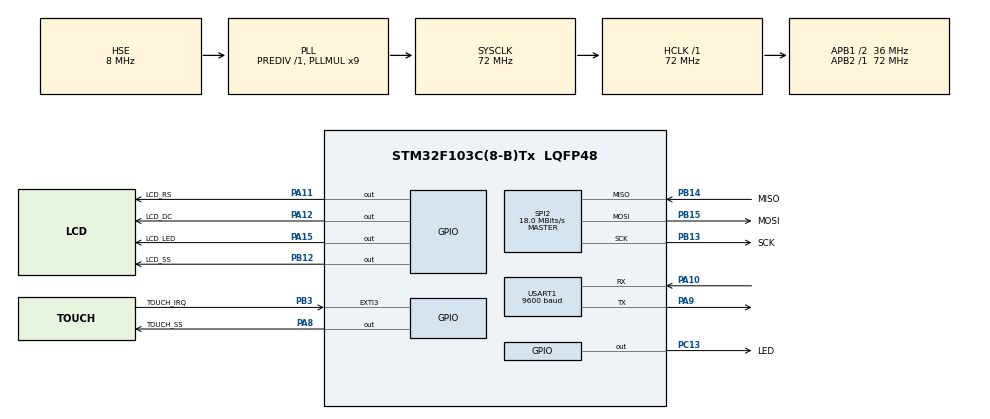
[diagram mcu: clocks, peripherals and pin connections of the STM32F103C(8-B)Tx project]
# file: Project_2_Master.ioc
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FREERTOS.BinarySemaphores01=BinarySem,Dynamic,NULL;PLCSem,Dynamic,NULL
FREERTOS.Mutexes01=Mutex01,Dynamic,NULL
FREERTOS.Queues01=PLC_MsgQueue,10,6,1,Dynamic,NULL,NULL;RXQueue,8,2,1,Dynamic,NULL,NULL
FREERTOS.Tasks01=myDisplay,28,150,Display_Task,Default,NULL,Dynamic,NULL,NULL;myPLC,24,150,PLC_Task,Default,NULL,Dynamic,NULL,NULL;Button,32,150,IRQ_Task,Default,NULL,Dynamic,NULL,NULL
FREERTOS.Timers01=SecTimer,LED_Indicator,osTimerPeriodic,Default,NULL,Dynamic,NULL;Timeout,LCD_Timeout,osTimerOnce,Default,NULL,Dynamic,NULL;CurrentTimer,Get_Current,osTimerPeriodic,Default,NULL,Dynamic,NULL
FREERTOS.configMINIMAL_STACK_SIZE=100
IWDG.Prescaler=IWDG_PRESCALER_256
IWDG.Reload=1500
Mcu.Family=STM32F1
Mcu.Name=STM32F103C(8-B)Tx
Mcu.Package=LQFP48
NVIC.EXTI3_IRQn=true\:5\:0\:false\:false\:true\:true\:true\:true
NVIC.PriorityGroup=NVIC_PRIORITYGROUP_4
NVIC.TIM1_UP_IRQn=true\:15\:0\:false\:false\:true\:false\:false\:true
NVIC.TimeBase=TIM1_UP_IRQn
NVIC.TimeBaseIP=TIM1
NVIC.USART1_IRQn=true\:5\:0\:false\:false\:true\:true\:true\:true
PA10.Mode=Asynchronous
PA10.Signal=USART1_RX
PA11.GPIO_Label=LCD_RS
PA11.Signal=GPIO_Output
PA12.GPIO_Label=LCD_DC
PA12.Signal=GPIO_Output
PA13.Mode=Serial_Wire
PA13.Signal=SYS_JTMS-SWDIO
PA14.Mode=Serial_Wire
PA14.Signal=SYS_JTCK-SWCLK
PA15.GPIO_Label=LCD_LED
PA15.Signal=GPIO_Output
PA8.GPIO_Label=TOUCH_SS
PA8.Signal=GPIO_Output
PA9.Mode=Asynchronous
PA9.Signal=USART1_TX
PB12.GPIO_Label=LCD_SS
PB12.Signal=GPIO_Output
PB13.GPIO_Label=SCK
PB13.Mode=Full_Duplex_Master
PB13.Signal=SPI2_SCK
PB14.GPIO_Label=MISO
PB14.Mode=Full_Duplex_Master
PB14.Signal=SPI2_MISO
PB15.GPIO_Label=MOSI
PB15.Mode=Full_Duplex_Master
PB15.Signal=SPI2_MOSI
PB3.GPIO_Label=TOUCH_IRQ
PB3.GPIO_ModeDefaultEXTI=GPIO_MODE_IT_FALLING
PB3.GPIO_PuPd=GPIO_PULLUP
PB3.Signal=GPXTI3
PC13-TAMPER-RTC.GPIO_Label=LED
PC13-TAMPER-RTC.Signal=GPIO_Output
PD0-OSC_IN.Mode=HSE-External-Oscillator
PD0-OSC_IN.Signal=RCC_OSC_IN
PD1-OSC_OUT.Mode=HSE-External-Oscillator
PD1-OSC_OUT.Signal=RCC_OSC_OUT
ProjectManager.HeapSize=0x200
ProjectManager.StackSize=0x400
ProjectManager.TargetToolchain=Makefile
RCC.AHBFreq_Value=72000000
RCC.APB1CLKDivider=RCC_HCLK_DIV2
RCC.APB1Freq_Value=36000000
RCC.APB1TimFreq_Value=72000000
RCC.APB2Freq_Value=72000000
RCC.APB2TimFreq_Value=72000000
RCC.HCLKFreq_Value=72000000
RCC.PLLMUL=RCC_PLL_MUL9
RCC.PLLSourceVirtual=RCC_PLLSOURCE_HSE
RCC.SYSCLKFreq_VALUE=72000000
RCC.SYSCLKSource=RCC_SYSCLKSOURCE_PLLCLK
RCC.USBFreq_Value=72000000
SPI2.CalculateBaudRate=18.0 MBits/s
SPI2.Direction=SPI_DIRECTION_2LINES
SPI2.Mode=SPI_MODE_MASTER
SPI2.VirtualType=VM_MASTER
USART1.BaudRate=9600
USART1.VirtualMode=VM_ASYNC
VP_FREERTOS_VS_CMSIS_V2.Mode=CMSIS_V2
VP_IWDG_VS_IWDG.Mode=IWDG_Activate
VP_SYS_VS_tim1.Mode=TIM1
board=custom

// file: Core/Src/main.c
/* USER CODE BEGIN Header */
/**
  ******************************************************************************
  * @file           : main.c
  * @brief          : Main program body
  ******************************************************************************
  * @attention
  *
  * Copyright (c) 2022 STMicroelectronics.
  * All rights reserved.
  *
  * This software is licensed under terms that can be found in the LICENSE file
  * in the root directory of this software component.
  * If no LICENSE file comes with this software, it is provided AS-IS.
  *
  ******************************************************************************
  */
/* USER CODE END Header */
#include "main.h"
#include "cmsis_os.h"
#include "iwdg.h"
#include "spi.h"
#include "usart.h"
#include "gpio.h"

/* USER CODE BEGIN PTD */

typedef enum
{
  RXREADY,
  GETTING_MESSAGE,
  PROCESS_MESSAGE
}
UARTStateRX;

/* USER CODE END PTD */

void SystemClock_Config(void);
void MX_FREERTOS_Init(void);
/* USER CODE BEGIN PFP */

void HAL_UART_RxCplCallback(UART_HandleTypeDef *huart);

/* USER CODE END PFP */

/* USER CODE BEGIN 0 */

extern uint8_t UART1_rxBuffer[1];

/* USER CODE END 0 */

int main(void)
{

  /* MCU Configuration--------------------------------------------------------*/

  /* Reset of all peripherals, Initializes the Flash interface and the Systick. */
  HAL_Init();

  /* Configure the system clock */
  SystemClock_Config();

  /* Initialize all configured peripherals */
  MX_GPIO_Init();
  MX_SPI2_Init();
  MX_USART1_UART_Init();
  MX_IWDG_Init();
  /* USER CODE BEGIN 2 */
  HAL_UART_Receive_IT(&huart1, UART1_rxBuffer, 1);

  // uint8_t send_buffer[101] = {0};
  // for (uint8_t i = 0; i < 100; i++)
  // {
  //   send_buffer[i] = i+1;
  // }

  /* USER CODE END 2 */

  /* Init scheduler */
  osKernelInitialize();  /* Call init function for freertos objects (in freertos.c) */
  MX_FREERTOS_Init();
  /* Start scheduler */
  osKernelStart();

  /* We should never get here as control is now taken by the scheduler */
  /* Infinite loop */
  while (1)
  {

  }
}

void SystemClock_Config(void)
{
  RCC_OscInitTypeDef RCC_OscInitStruct = {0};
  RCC_ClkInitTypeDef RCC_ClkInitStruct = {0};

  /** Initializes the RCC Oscillators according to the specified parameters
  * in the RCC_OscInitTypeDef structure.
  */
  RCC_OscInitStruct.OscillatorType = RCC_OSCILLATORTYPE_LSI|RCC_OSCILLATORTYPE_HSE;
  RCC_OscInitStruct.HSEState = RCC_HSE_ON;
  RCC_OscInitStruct.HSEPredivValue = RCC_HSE_PREDIV_DIV1;
  RCC_OscInitStruct.HSIState = RCC_HSI_ON;
  RCC_OscInitStruct.LSIState = RCC_LSI_ON;
  RCC_OscInitStruct.PLL.PLLState = RCC_PLL_ON;
  RCC_OscInitStruct.PLL.PLLSource = RCC_PLLSOURCE_HSE;
  RCC_OscInitStruct.PLL.PLLMUL = RCC_PLL_MUL9;
  if (HAL_RCC_OscConfig(&RCC_OscInitStruct) != HAL_OK)
  {
    Error_Handler();
  }
  /** Initializes the CPU, AHB and APB buses clocks
  */
  RCC_ClkInitStruct.ClockType = RCC_CLOCKTYPE_HCLK|RCC_CLOCKTYPE_SYSCLK
                              |RCC_CLOCKTYPE_PCLK1|RCC_CLOCKTYPE_PCLK2;
  RCC_ClkInitStruct.SYSCLKSource = RCC_SYSCLKSOURCE_PLLCLK;
  RCC_ClkInitStruct.AHBCLKDivider = RCC_SYSCLK_DIV1;
  RCC_ClkInitStruct.APB1CLKDivider = RCC_HCLK_DIV2;
  RCC_ClkInitStruct.APB2CLKDivider = RCC_HCLK_DIV1;

  if (HAL_RCC_ClockConfig(&RCC_ClkInitStruct, FLASH_LATENCY_2) != HAL_OK)
  {
    Error_Handler();
  }
}

void HAL_TIM_PeriodElapsedCallback(TIM_HandleTypeDef *htim)
{
  if (htim->Instance == TIM1) {
    HAL_IncTick();
  }
}

void Error_Handler(void)
{
  __disable_irq();
  while (1)
  {
  }
}

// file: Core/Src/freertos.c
/* USER CODE BEGIN Header */
/**
  ******************************************************************************
  * File Name          : freertos.c
  * Description        : Code for freertos applications
  ******************************************************************************
  * @attention
  *
  * Copyright (c) 2022 STMicroelectronics.
  * All rights reserved.
  *
  * This software is licensed under terms that can be found in the LICENSE file
  * in the root directory of this software component.
  * If no LICENSE file comes with this software, it is provided AS-IS.
  *
  ******************************************************************************
  */
/* USER CODE END Header */

#include "FreeRTOS.h"
#include "task.h"
#include "main.h"
#include "cmsis_os.h"

/* USER CODE BEGIN Includes */
#include "lcd.h"
#include "math.h"
#include "timers.h"
#include "plc.h"
#include "queue.h"

/* USER CODE END Includes */

/* USER CODE BEGIN PTD */
typedef enum
{
  SLEEPING = 0,
  RUNNING = 1,
} Mode;

typedef enum
{
  RXREADY,
  GET_NEW_MESSAGE,
  PROCESS_MESSAGE
} UARTStateRX;

typedef enum
{
  SENDING,
  TXREADY
} UARTStateTX;

typedef enum
{
  SLAVE_OK,
  SLAVE_nOK
}
SLAVEState;

typedef struct
{
  uint8_t PWM_percent;
  uint16_t Current;
  uint8_t Power;
  uint32_t time;
  uint8_t Power_p;
  uint8_t history[120];
} Channel;

/* USER CODE END PTD */

/* USER CODE BEGIN PD */

#define ControlPage     (0)
#define SettingPage     (1)
#define InfoPage        (2)
#define DELAY_RX_CHECK  (5000)
#define DELAY_RX_CHECK  (5000)

#define LCD_TimeOut     (180000)

/* USER CODE END PD */

/* USER CODE BEGIN PM */

#define ABS(x) ((x) > 0 ? (x) : -(x))
/* USER CODE END PM */

/* USER CODE BEGIN Variables */
extern SPI_HandleTypeDef hspi2;
extern UART_HandleTypeDef huart1;
extern IWDG_HandleTypeDef hiwdg;

myButton_t Channel_1 = {80, 120, 50, 0, 0, ILI9341_RED, false, NULL};
myButton_t Channel_2 = {240, 120, 50, 0, 0, ILI9341_RED, false, NULL};
myButton_t Control_Info = {299, 219, 20, 0, 0, ILI9341_LIGHTBLUE, NULL, NULL};
myButton_t Info_Control = {20, 219, 20, 0, 0, ILI9341_LIGHTBLUE, NULL, NULL};
myButton_t Control_Setting = {160, 205, 0, 100, 30, ILI9341_YELLOW, NULL, NULL};

Mode DeviceState = RUNNING;
uint8_t currentPage = 0;
Channel Display_Channel01;
Channel Display_Channel02;

uint8_t UART1_rxBuffer[1];
uint8_t message_buffer[PLC_LEN_OF_MESSAGE];
uint8_t byte_count = 0;
UARTStateRX RXstate = RXREADY;
UARTStateTX TXstate = TXREADY;
SLAVEState SLstate = SLAVE_OK;

lightChannel channel01 = {
  .onoff = OFF,
  .value = 0,
  .channel_num = PLC_CHANNEL_01,
  .messageType = 0,
};

lightChannel channel02 = {
  .onoff = OFF,
  .value = 0,
  .channel_num = PLC_CHANNEL_02,
  .messageType = 0,
};

/* USER CODE END Variables */
/* Definitions for myDisplay */
osThreadId_t myDisplayHandle;
const osThreadAttr_t myDisplay_attributes = {
  .name = "myDisplay",
  .stack_size = 150 * 4,
  .priority = (osPriority_t) osPriorityNormal4,
};
/* Definitions for myPLC */
osThreadId_t myPLCHandle;
const osThreadAttr_t myPLC_attributes = {
  .name = "myPLC",
  .stack_size = 150 * 4,
  .priority = (osPriority_t) osPriorityNormal,
};
/* Definitions for Button */
osThreadId_t ButtonHandle;
const osThreadAttr_t Button_attributes = {
  .name = "Button",
  .stack_size = 150 * 4,
  .priority = (osPriority_t) osPriorityAboveNormal,
};
/* Definitions for PLC_MsgQueue */
osMessageQueueId_t PLC_MsgQueueHandle;
const osMessageQueueAttr_t PLC_MsgQueue_attributes = {
  .name = "PLC_MsgQueue"
};
/* Definitions for RXQueue */
osMessageQueueId_t RXQueueHandle;
const osMessageQueueAttr_t RXQueue_attributes = {
  .name = "RXQueue"
};
/* Definitions for SecTimer */
osTimerId_t SecTimerHandle;
const osTimerAttr_t SecTimer_attributes = {
  .name = "SecTimer"
};
/* Definitions for Timeout */
osTimerId_t TimeoutHandle;
const osTimerAttr_t Timeout_attributes = {
  .name = "Timeout"
};
/* Definitions for CurrentTimer */
osTimerId_t CurrentTimerHandle;
const osTimerAttr_t CurrentTimer_attributes = {
  .name = "CurrentTimer"
};
/* Definitions for Mutex01 */
osMutexId_t Mutex01Handle;
const osMutexAttr_t Mutex01_attributes = {
  .name = "Mutex01"
};
/* Definitions for BinarySem */
osSemaphoreId_t BinarySemHandle;
const osSemaphoreAttr_t BinarySem_attributes = {
  .name = "BinarySem"
};
/* Definitions for PLCSem */
osSemaphoreId_t PLCSemHandle;
const osSemaphoreAttr_t PLCSem_attributes = {
  .name = "PLCSem"
};

/* USER CODE BEGIN FunctionPrototypes */
void ControlPageDisplay(void);
void SettingPageDisplay(void);
void InfoPageDisplay(void);

void ControlPageHandler(uint16_t x, uint16_t y);
void SettingPageHandler(uint16_t x, uint16_t y);
void InfoPageHandler(uint16_t x, uint16_t y);

void PLC_MessageHandle(PLCMessage message);

void reverse(char* str, int len);
int intToStr(uint16_t x, char str[], int d);
void ftoa(float n, char* res, int afterpoint);

void intToTime(uint32_t time, char* str);
int intToStr0(uint8_t x, char str[], int d);
/* USER CODE END FunctionPrototypes */

void Display_Task(void *argument);
void PLC_Task(void *argument);
void IRQ_Task(void *argument);
void LED_Indicator(void *argument);
void LCD_Timeout(void *argument);
void Get_Current(void *argument);

void MX_FREERTOS_Init(void); /* (MISRA C 2004 rule 8.1) */

void MX_FREERTOS_Init(void) {
  /* Create the mutex(es) */
  /* creation of Mutex01 */
  Mutex01Handle = osMutexNew(&Mutex01_attributes);

  /* Create the semaphores(s) */
  /* creation of BinarySem */
  BinarySemHandle = osSemaphoreNew(1, 0, &BinarySem_attributes);

  /* creation of PLCSem */
  PLCSemHandle = osSemaphoreNew(1, 0, &PLCSem_attributes);

  /* Create the timer(s) */
  /* creation of SecTimer */
  SecTimerHandle = osTimerNew(LED_Indicator, osTimerPeriodic, NULL, &SecTimer_attributes);

  /* creation of Timeout */
  TimeoutHandle = osTimerNew(LCD_Timeout, osTimerOnce, NULL, &Timeout_attributes);

  /* creation of CurrentTimer */
  CurrentTimerHandle = osTimerNew(Get_Current, osTimerPeriodic, NULL, &CurrentTimer_attributes);

  /* Create the queue(s) */
  /* creation of PLC_MsgQueue */
  PLC_MsgQueueHandle = osMessageQueueNew (5, sizeof(lightChannel), &PLC_MsgQueue_attributes);

  /* creation of RXQueue */
  RXQueueHandle = osMessageQueueNew (8, sizeof(UART1_rxBuffer), &RXQueue_attributes);

  /* Create the thread(s) */
  /* creation of myDisplay */
  myDisplayHandle = osThreadNew(Display_Task, NULL, &myDisplay_attributes);

  /* creation of myPLC */
  myPLCHandle = osThreadNew(PLC_Task, NULL, &myPLC_attributes);

  /* creation of Button */
  ButtonHandle = osThreadNew(IRQ_Task, NULL, &Button_attributes);

}

void Display_Task(void *argument)
{
  /* USER CODE BEGIN Display_Task */

  ILI9341_Unselect();
  ILI9341_TouchUnselect();
  ILI9341_Init();

  osTimerStart(SecTimerHandle, 1000);
  osTimerStart(TimeoutHandle, LCD_TimeOut);
  osTimerStart(CurrentTimerHandle, 30000);

  /* Infinite loop */
  for(;;)
  {
    osTimerStop(SecTimerHandle);
    switch (currentPage)
    {
      case ControlPage:
        ControlPageDisplay();
        break;

      case SettingPage:
        SettingPageDisplay();
        break;

      case InfoPage:
        InfoPageDisplay();
        break;

      default:
        break;
    }
    osTimerStart(SecTimerHandle, 1000);
    vTaskSuspend(myDisplayHandle);
  }
  /* USER CODE END Display_Task */
}

void PLC_Task(void *argument)
{
  /* USER CODE BEGIN PLC_Task */
  uint8_t rxbyte = 0;
  lightChannel channel;
  PLCMessage message;
  uint8_t buffer[8];
  uint32_t TickRXCheck = 0;
  uint32_t TickTXCheck = 0;
  // osDelay(2000);
  /* Infinite loop */
  for(;;)
  {

    if (TXstate == TXREADY)
    {
      if (osMessageQueueGet(PLC_MsgQueueHandle, &channel, NULL, 10) == osOK)
      {
        TXstate = SENDING;
        message.messageType = channel.messageType;
        if (channel.messageType == PLC_ONOFF_MESSAGE)         {message.payload = channel.onoff;}
        else if (channel.messageType == PLC_PWM_MESSAGE)      {message.payload = channel.value;}
        else if (channel.messageType == PLC_REQUEST_CURRENT)  {message.payload = 0;}
        message.device.roomAddr = PLC_ROOM_ADDR;
        message.device.deviceAddr = PLC_DEVICE_ADDR;
        message.device.channel = channel.channel_num;
        PLC_MessageGenerate(buffer, message);
        HAL_UART_Transmit_IT(&huart1, (uint8_t*)buffer, 8);
      }
    }

    if (osMessageQueueGet(RXQueueHandle, &rxbyte, NULL, 10) == osOK)
    {
      if ((RXstate == RXREADY) && (rxbyte == '$'))
      {
        RXstate = GET_NEW_MESSAGE;
        message_buffer[byte_count++] = rxbyte;
      }
      else if (RXstate == GET_NEW_MESSAGE)
      {
        message_buffer[byte_count++] = rxbyte;
        if (byte_count == 8)
        {
          RXstate = PROCESS_MESSAGE;
          byte_count = 0;
        }
      }
    }

    if ((RXstate == PROCESS_MESSAGE) && (TXstate == SENDING))
    {
      if (PLC_MessageParser(message_buffer, &message) != HAL_OK)  {SLstate = SLAVE_nOK;}
      else  {PLC_MessageHandle(message);}
      HAL_Delay(500);
      while (osMessageQueueGetCount(RXQueueHandle) != 0)  {osMessageQueueGet(RXQueueHandle, &rxbyte, NULL, 10);}
      if (SLstate == SLAVE_nOK)   {HAL_UART_Transmit_IT(&huart1, (uint8_t*)buffer, 8);}
      TickRXCheck = HAL_GetTick();
      RXstate = RXREADY;
    }

    if (RXstate == RXREADY)   {TickRXCheck = HAL_GetTick();}
    if (TXstate == TXREADY)   {TickTXCheck = HAL_GetTick();}
    if ((((HAL_GetTick() - TickRXCheck) > DELAY_RX_CHECK) || ((HAL_GetTick() - TickTXCheck) > DELAY_RX_CHECK)) &&
        ((RXstate == GET_NEW_MESSAGE) || (TXstate == SENDING)))
    {
      HAL_UART_Transmit_IT(&huart1, (uint8_t*)buffer, 8);
      TickRXCheck = HAL_GetTick();
      TickTXCheck = HAL_GetTick();
      RXstate = RXREADY;
    }

    osDelay(1);
  }
  /* USER CODE END PLC_Task */
}

void IRQ_Task(void *argument)
{
  /* USER CODE BEGIN IRQ_Task */
  uint16_t x, y;
  uint32_t currentTick = 0, lastTick = 0;
  /* Infinite loop */
  for(;;)
  {
    osDelay(100);
    if (osSemaphoreAcquire(BinarySemHandle, portMAX_DELAY) == osOK)
    {
      osDelay(100);
      currentTick = HAL_GetTick();
      if (HAL_GPIO_ReadPin(TOUCH_IRQ_GPIO_Port, TOUCH_IRQ_Pin) == 0 && ((currentTick - lastTick) >= 500))
      {
        lastTick = currentTick;

        HAL_SPI_DeInit(&hspi2);
        hspi2.Init.BaudRatePrescaler = SPI_BAUDRATEPRESCALER_128;
        HAL_SPI_Init(&hspi2);
        while(ILI9341_TouchGetCoordinates(&x, &y) != true);
        HAL_SPI_DeInit(&hspi2);
        hspi2.Init.BaudRatePrescaler = SPI_BAUDRATEPRESCALER_2;
        HAL_SPI_Init(&hspi2);

        osTimerStop(TimeoutHandle);
        xTimerReset(TimeoutHandle, 10);

        if (DeviceState == SLEEPING)
        {
          DeviceState = RUNNING;
          HAL_GPIO_WritePin(LCD_LED_GPIO_Port, LCD_LED_Pin, 1);
        }
        else
        {
          switch (currentPage)
          {
            case ControlPage:
              ControlPageHandler(x, y);
              break;

            case SettingPage:
              SettingPageHandler(x, y);
              break;

            case InfoPage:
              InfoPageHandler(x, y);
              break;

            default:
              break;
          }
        }

        osTimerStart(TimeoutHandle, LCD_TimeOut);

      }

    }
    //osSemaphoreRelease(BinarySemHandle);
  }
  /* USER CODE END IRQ_Task */
}

/* LED_Indicator function */
void LED_Indicator(void *argument)
{
  /* USER CODE BEGIN LED_Indicator */
  HAL_IWDG_Refresh(&hiwdg);
  HAL_GPIO_TogglePin(LED_GPIO_Port, LED_Pin);

  if (Channel_1.state == true)
  {
    Display_Channel01.time++;
    if (currentPage == InfoPage)
    {
      char t_temp[9];
      char temp[6];
      intToTime(Display_Channel01.time, t_temp);
      ILI9341_WriteString(90, 80, t_temp, Font_7x10, ILI9341_GREEN, ILI9341_BLACK);
      intToStr(Display_Channel01.Current, temp, 4);
      ILI9341_WriteString(90, 40, temp, Font_7x10, ILI9341_YELLOW, ILI9341_BLACK);
      intToStr(Display_Channel01.Power, temp, 4);
      ILI9341_WriteString(90, 60, temp, Font_7x10, ILI9341_RED, ILI9341_BLACK);
    }
  }

  if (Channel_2.state == true)
  {
    Display_Channel02.time++;
    if (currentPage == InfoPage)
    {
      char t_temp[9];
      char temp[6];
      intToTime(Display_Channel02.time, t_temp);
      ILI9341_WriteString(90, 170, t_temp, Font_7x10, ILI9341_GREEN, ILI9341_BLACK);
      intToStr(Display_Channel02.Current, temp, 4);
      ILI9341_WriteString(90, 130, temp, Font_7x10, ILI9341_YELLOW, ILI9341_BLACK);
      intToStr(Display_Channel02.Power, temp, 4);
      ILI9341_WriteString(90, 150, temp, Font_7x10, ILI9341_RED, ILI9341_BLACK);
    }
  }

  /* USER CODE END LED_Indicator */
}

/* LCD_Timeout function */
void LCD_Timeout(void *argument)
{
  /* USER CODE BEGIN LCD_Timeout */

  HAL_GPIO_WritePin(LCD_LED_GPIO_Port, LCD_LED_Pin, 0);
  DeviceState = SLEEPING;

  /* USER CODE END LCD_Timeout */
}

/* Get_Current function */
void Get_Current(void *argument)
{
  /* USER CODE BEGIN Get_Current */

  channel01.messageType = PLC_REQUEST_CURRENT;
  osMessageQueuePut(PLC_MsgQueueHandle, &channel01, 0U, 0U);

  /* USER CODE END Get_Current */
}

/* USER CODE BEGIN Application */

void HAL_GPIO_EXTI_Callback(uint16_t GPIO_Pin)
{
  if (GPIO_Pin == TOUCH_IRQ_Pin)
  {
    osSemaphoreRelease(BinarySemHandle);
  }
}

void HAL_UART_RxCpltCallback(UART_HandleTypeDef *huart)
{
  if (huart->Instance == USART1)
  {
    osMessageQueuePut(RXQueueHandle, &UART1_rxBuffer, 0U, 0U);
    HAL_UART_Receive_IT(&huart1, UART1_rxBuffer, 1);
  }
}

void PLC_MessageHandle(PLCMessage message)
{
  switch (message.messageType)
  {
    case (PLC_RESPONSE_MESSAGE):
    {
      if (message.payload == 0)       {SLstate = SLAVE_nOK;}
      else if (message.payload == 1)
      {
        TXstate = TXREADY;
        SLstate = SLAVE_OK;
      }
    }
    case (PLC_REQUEST_CURRENT):
    {
      if (message.device.channel == PLC_CHANNEL_01)
      {
        Display_Channel01.Current = message.payload;
        Display_Channel01.Power = Display_Channel01.Current * 160 / 1000;
        Display_Channel01.history[Display_Channel01.Power_p++] = Display_Channel01.Power;
        if (Display_Channel01.Power_p == 120) {Display_Channel01.Power_p = 0;}
        SLstate = SLAVE_OK;
        TXstate = TXREADY;
        channel02.messageType = PLC_REQUEST_CURRENT;
        osMessageQueuePut(PLC_MsgQueueHandle, &channel02, 0U, 0U);
      }
      else if (message.device.channel == PLC_CHANNEL_02)
      {
        Display_Channel02.Current = message.payload;
        Display_Channel02.Power = Display_Channel02.Current * 160 / 1000;
        Display_Channel02.history[Display_Channel02.Power_p++] = Display_Channel02.Power;
        if (Display_Channel02.Power_p == 120) {Display_Channel02.Power_p = 0;}

        if ((Channel_1.state == true) && (currentPage == InfoPage))
        {
          if(osMutexAcquire(Mutex01Handle, portMAX_DELAY) == osOK)
          {
            uint8_t start = Display_Channel01.Power_p;
            for(uint8_t i = 0; i < 120; i++)
            {
              ILI9341_DrawLine(191+i, 20, 191+i, 100, ILI9341_BLACK);
              ILI9341_DrawPixel(191+i, 100, ILI9341_WHITE);
              ILI9341_DrawPixel(191+i, 100-Display_Channel01.history[start++], ILI9341_BLUE);
              if (start == 120)   {start = 0;}
            }
            osMutexRelease(Mutex01Handle);
          }
        }

        if ((Channel_2.state == true) && (currentPage == InfoPage))
        {
          if(osMutexAcquire(Mutex01Handle, portMAX_DELAY) == osOK)
          {
            uint8_t start = Display_Channel02.Power_p;
            for(uint8_t i = 0; i < 120; i++)
            {
              ILI9341_DrawLine(191+i, 140, 191+i, 220, ILI9341_BLACK);
              ILI9341_DrawPixel(191+i, 220, ILI9341_WHITE);
              ILI9341_DrawPixel(191+i, 220-Display_Channel02.history[start++], ILI9341_RED);
              if (start == 120)   {start = 0;}
            }
            osMutexRelease(Mutex01Handle);
          }
        }

        SLstate = SLAVE_OK;
        TXstate = TXREADY;
      }
    }
  }
}

void ControlPageDisplay(void)
{
  ILI9341_FillScreen(ILI9341_BLACK);

  ILI9341_WriteString(34, 30, "CHANNEL 1", Font_11x18, ILI9341_WHITE, ILI9341_BLACK);
  ILI9341_WriteString(194, 30, "CHANNEL 2", Font_11x18, ILI9341_WHITE, ILI9341_BLACK);

  if (Channel_1.state == true)
  {
    ILI9341_FillCircle(Channel_1.pos_x, Channel_1.pos_y, Channel_1.shape_r, ILI9341_GREEN);
    ILI9341_WriteString(Channel_1.pos_x-10, Channel_1.pos_y-5, "ON", Font_11x18, ILI9341_BLACK, ILI9341_GREEN);
  }
  else
  {
    ILI9341_FillCircle(Channel_1.pos_x, Channel_1.pos_y, Channel_1.shape_r, ILI9341_RED);
    ILI9341_WriteString(Channel_1.pos_x-15, Channel_1.pos_y-5, "OFF", Font_11x18, ILI9341_BLACK, ILI9341_RED);
  }

  if (Channel_2.state == true)
  {
    ILI9341_FillCircle(Channel_2.pos_x, Channel_2.pos_y, Channel_2.shape_r, ILI9341_GREEN);
    ILI9341_WriteString(Channel_2.pos_x-10, Channel_2.pos_y-5, "ON", Font_11x18, ILI9341_BLACK, ILI9341_GREEN);
  }
  else
  {
    ILI9341_FillCircle(Channel_2.pos_x, Channel_2.pos_y, Channel_2.shape_r, ILI9341_RED);
    ILI9341_WriteString(Channel_2.pos_x-15, Channel_2.pos_y-5, "OFF", Font_11x18, ILI9341_BLACK, ILI9341_RED);
  }

  ILI9341_FillRectangle(Control_Setting.pos_x - (Control_Setting.shape_w/2),
                        Control_Setting.pos_y - (Control_Setting.shape_h/2),
                        Control_Setting.shape_w,
                        Control_Setting.shape_h,
                        Control_Setting.color);
  ILI9341_WriteString(Control_Setting.pos_x - (Control_Setting.shape_w/2) + 12,
                      Control_Setting.pos_y - (Control_Setting.shape_h/2) + 7,
                      "SETTING",
                      Font_11x18,
                      ILI9341_BLACK,
                      Control_Setting.color);

  ILI9341_FillCircle(Control_Info.pos_x, Control_Info.pos_y, Control_Info.shape_r, Control_Info.color);
  ILI9341_WriteString(Control_Info.pos_x-10, Control_Info.pos_y-7, ">>", Font_11x18, ILI9341_BLACK, Control_Info.color);

}

void SettingPageDisplay(void)
{
  ILI9341_FillScreen(ILI9341_BLACK);

  char temp[4];

  ILI9341_WriteString(110, 15, "CHANNEL 1", Font_11x18, ILI9341_WHITE, ILI9341_BLACK);

  ILI9341_WriteString(10, 40, "Level: ", Font_11x18, ILI9341_WHITE, ILI9341_BLACK);
  intToStr(Display_Channel01.PWM_percent, temp, 3);
  ILI9341_WriteString(109, 40, temp, Font_11x18, ILI9341_WHITE, ILI9341_BLACK);

  ILI9341_DrawRectangle(20, 70, 280, 20, ILI9341_WHITE);
  ILI9341_FillRectangle(22, 72, 278*((double)Display_Channel01.PWM_percent/100) - 1, 17, ILI9341_GREEN);

  ILI9341_WriteString(110, 105, "CHANNEL 2", Font_11x18, ILI9341_WHITE, ILI9341_BLACK);

  ILI9341_WriteString(10, 130, "Level: ", Font_11x18, ILI9341_WHITE, ILI9341_BLACK);
  intToStr(Display_Channel02.PWM_percent, temp, 3);
  ILI9341_WriteString(109, 130, temp, Font_11x18, ILI9341_WHITE, ILI9341_BLACK);

  ILI9341_DrawRectangle(20, 160, 280, 20, ILI9341_WHITE);
  ILI9341_FillRectangle(22, 162, 278*((double)Display_Channel02.PWM_percent/100) - 1, 17, ILI9341_GREEN);

  ILI9341_FillRectangle(Control_Setting.pos_x - (Control_Setting.shape_w/2),
                        Control_Setting.pos_y - (Control_Setting.shape_h/2),
                        Control_Setting.shape_w,
                        Control_Setting.shape_h,
                        Control_Setting.color);
  ILI9341_WriteString(Control_Setting.pos_x - (Control_Setting.shape_w/2) + 12,
                      Control_Setting.pos_y - (Control_Setting.shape_h/2) + 7,
                      "CONTROL",
                      Font_11x18,
                      ILI9341_BLACK,
                      Control_Setting.color);
}

void InfoPageDisplay(void)
{
  ILI9341_FillScreen(ILI9341_BLACK);

  char temp[6];
  char t_temp[9];
  uint8_t start;

  ILI9341_WriteString(30, 15, "CHANNEL 1", Font_11x18, ILI9341_WHITE, ILI9341_BLACK);

  ILI9341_WriteString(20, 40, "Current: ", Font_7x10, ILI9341_YELLOW, ILI9341_BLACK);
  intToStr(Display_Channel01.Current, temp, 4);
  ILI9341_WriteString(90, 40, temp, Font_7x10, ILI9341_YELLOW, ILI9341_BLACK);
  ILI9341_WriteString(125, 40, "mA", Font_7x10, ILI9341_YELLOW, ILI9341_BLACK);

  ILI9341_WriteString(20, 60, "Power: ", Font_7x10, ILI9341_RED, ILI9341_BLACK);
  intToStr(Display_Channel01.Power, temp, 4);
  ILI9341_WriteString(90, 60, temp, Font_7x10, ILI9341_RED, ILI9341_BLACK);
  ILI9341_WriteString(125, 60, "W", Font_7x10, ILI9341_RED, ILI9341_BLACK);

  ILI9341_WriteString(20, 80, "Period: ", Font_7x10, ILI9341_GREEN, ILI9341_BLACK);
  intToTime(Display_Channel01.time, t_temp);
  ILI9341_WriteString(90, 80, t_temp, Font_7x10, ILI9341_GREEN, ILI9341_BLACK);

  ILI9341_WriteString(30, 105, "CHANNEL 2", Font_11x18, ILI9341_WHITE, ILI9341_BLACK);

  ILI9341_WriteString(20, 130, "Current: ", Font_7x10, ILI9341_YELLOW, ILI9341_BLACK);
  intToStr(Display_Channel02.Current, temp, 4);
  ILI9341_WriteString(90, 130, temp, Font_7x10, ILI9341_YELLOW, ILI9341_BLACK);
  ILI9341_WriteString(125, 130, "mA", Font_7x10, ILI9341_YELLOW, ILI9341_BLACK);

  ILI9341_WriteString(20, 150, "Power: ", Font_7x10, ILI9341_RED, ILI9341_BLACK);
  intToStr(Display_Channel02.Power, temp, 4);
  ILI9341_WriteString(90, 150, temp, Font_7x10, ILI9341_RED, ILI9341_BLACK);
  ILI9341_WriteString(125, 150, "W", Font_7x10, ILI9341_RED, ILI9341_BLACK);

  ILI9341_WriteString(20, 170, "Period: ", Font_7x10, ILI9341_GREEN, ILI9341_BLACK);
  intToTime(Display_Channel02.time, t_temp);
  ILI9341_WriteString(90, 170, t_temp, Font_7x10, ILI9341_GREEN, ILI9341_BLACK);

  ILI9341_DrawLine(160, 0, 160, 239, ILI9341_WHITE);
  ILI9341_DrawLine(160, 120, 319, 120, ILI9341_WHITE);

  ILI9341_DrawLine(190, 220, 315, 220, ILI9341_WHITE);
  ILI9341_DrawLine(313, 218, 315, 220, ILI9341_WHITE);
  ILI9341_DrawLine(313, 222, 315, 220, ILI9341_WHITE);
  ILI9341_WriteString(310, 227, "t", Font_7x10, ILI9341_WHITE, ILI9341_BLACK);
  ILI9341_DrawLine(250, 220, 250, 223, ILI9341_WHITE);
  ILI9341_WriteString(235, 227, "-30", Font_7x10, ILI9341_WHITE, ILI9341_BLACK);
  ILI9341_WriteString(180, 227, "-60", Font_7x10, ILI9341_WHITE, ILI9341_BLACK);

  ILI9341_DrawLine(190, 135, 190, 220, ILI9341_WHITE);
  ILI9341_DrawLine(190, 135, 192, 137, ILI9341_WHITE);
  ILI9341_DrawLine(190, 135, 188, 137, ILI9341_WHITE);
  ILI9341_WriteString(178, 130, "P", Font_7x10, ILI9341_WHITE, ILI9341_BLACK);
  ILI9341_DrawLine(187, 180, 190, 180, ILI9341_WHITE);
  ILI9341_WriteString(171, 176, "40", Font_7x10, ILI9341_WHITE, ILI9341_BLACK);
  ILI9341_WriteString(171, 213, " 0", Font_7x10, ILI9341_WHITE, ILI9341_BLACK);

  start = Display_Channel02.Power_p;
  for(uint8_t i = 0; i < 120; i++)
  {
    ILI9341_DrawLine(191+i, 140, 191+i, 220, ILI9341_BLACK);
    ILI9341_DrawPixel(191+i, 220, ILI9341_WHITE);
    ILI9341_DrawPixel(191+i, 220-Display_Channel02.history[start++], ILI9341_RED);
    if (start == 120)   {start = 0;}
  }

  ILI9341_DrawLine(190, 100, 315, 100, ILI9341_WHITE);
  ILI9341_DrawLine(313, 98, 315, 100, ILI9341_WHITE);
  ILI9341_DrawLine(313, 102, 315, 100, ILI9341_WHITE);
  ILI9341_WriteString(310, 107, "t", Font_7x10, ILI9341_WHITE, ILI9341_BLACK);
  ILI9341_DrawLine(250, 100, 250, 103, ILI9341_WHITE);
  ILI9341_WriteString(235, 107, "-30", Font_7x10, ILI9341_WHITE, ILI9341_BLACK);
  ILI9341_WriteString(180, 107, "-60", Font_7x10, ILI9341_WHITE, ILI9341_BLACK);

  ILI9341_DrawLine(190, 15, 190, 100, ILI9341_WHITE);
  ILI9341_DrawLine(190, 15, 192, 17, ILI9341_WHITE);
  ILI9341_DrawLine(190, 15, 188, 17, ILI9341_WHITE);
  ILI9341_WriteString(178, 10, "P", Font_7x10, ILI9341_WHITE, ILI9341_BLACK);
  ILI9341_DrawLine(187, 60, 190, 60, ILI9341_WHITE);
  ILI9341_WriteString(171, 56, "40", Font_7x10, ILI9341_WHITE, ILI9341_BLACK);
  ILI9341_WriteString(171, 93, " 0", Font_7x10, ILI9341_WHITE, ILI9341_BLACK);

  start = Display_Channel01.Power_p;
  for(uint8_t i = 0; i < 120; i++)
  {
    ILI9341_DrawLine(191+i, 20, 191+i, 100, ILI9341_BLACK);
    ILI9341_DrawPixel(191+i, 100, ILI9341_WHITE);
    ILI9341_DrawPixel(191+i, 100-Display_Channel01.history[start++], ILI9341_BLUE);
    if (start == 120)   {start = 0;}
  }

  ILI9341_FillCircle(Info_Control.pos_x, Info_Control.pos_y, Info_Control.shape_r, Info_Control.color);
  ILI9341_WriteString(Info_Control.pos_x-10, Info_Control.pos_y-7, "<<", Font_11x18, ILI9341_BLACK, Info_Control.color);

}

void ControlPageHandler(uint16_t x, uint16_t y)
{
  if ((((ABS(y - Channel_1.pos_x))^2) + ((ABS(x - Channel_1.pos_y))^2)) <= ((Channel_1.shape_r)^2))
  {
    if (Channel_1.state == false)
    {
      Channel_1.state = true;
      ILI9341_FillCircle(Channel_1.pos_x, Channel_1.pos_y, Channel_1.shape_r, ILI9341_GREEN);
      ILI9341_WriteString(Channel_1.pos_x-10, Channel_1.pos_y-5, "ON", Font_11x18, ILI9341_BLACK, ILI9341_GREEN);
      channel01.onoff = ON;
      channel01.messageType = PLC_ONOFF_MESSAGE;
      osMessageQueuePut(PLC_MsgQueueHandle, &channel01, 0U, 0U);
    }
    else
    {
      Channel_1.state = false;
      ILI9341_FillCircle(Channel_1.pos_x, Channel_1.pos_y, Channel_1.shape_r, ILI9341_RED);
      ILI9341_WriteString(Channel_1.pos_x-15, Channel_1.pos_y-5, "OFF", Font_11x18, ILI9341_BLACK, ILI9341_RED);
      channel01.onoff = OFF;
      channel01.messageType = PLC_ONOFF_MESSAGE;
      osMessageQueuePut(PLC_MsgQueueHandle, &channel01, 0U, 0U);
    }
  }

  if ((((ABS(y - Channel_2.pos_x))^2) + ((ABS(x - Channel_2.pos_y))^2)) <= ((Channel_2.shape_r)^2))
  {
    if (Channel_2.state == false)
    {
      Channel_2.state = true;
      ILI9341_FillCircle(Channel_2.pos_x, Channel_2.pos_y, Channel_2.shape_r, ILI9341_GREEN);
      ILI9341_WriteString(Channel_2.pos_x-10, Channel_2.pos_y-5, "ON", Font_11x18, ILI9341_BLACK, ILI9341_GREEN);
      channel02.onoff = ON;
      channel02.messageType = PLC_ONOFF_MESSAGE;
      osMessageQueuePut(PLC_MsgQueueHandle, &channel02, 0U, 0U);
    }
    else
    {
      Channel_2.state = false;
      ILI9341_FillCircle(Channel_2.pos_x, Channel_2.pos_y, Channel_2.shape_r, ILI9341_RED);
      ILI9341_WriteString(Channel_2.pos_x-15, Channel_2.pos_y-5, "OFF", Font_11x18, ILI9341_BLACK, ILI9341_RED);
      channel02.onoff = OFF;
      channel02.messageType = PLC_ONOFF_MESSAGE;
      osMessageQueuePut(PLC_MsgQueueHandle, &channel02, 0U, 0U);
    }
  }

  if ((x <= (Control_Setting.pos_y + (Control_Setting.shape_h/2))) &&
      (x >= (Control_Setting.pos_y - (Control_Setting.shape_h/2))) &&
      (y <= (Control_Setting.pos_x + (Control_Setting.shape_w/2))) &&
      (y >= (Control_Setting.pos_x - (Control_Setting.shape_w/2))))
  {
    currentPage = SettingPage;
    vTaskResume(myDisplayHandle);
  }

  if ((((ABS(y - Control_Info.pos_x))^2) + ((ABS(x - Control_Info.pos_y))^2)) <= ((Control_Info.shape_r)^2))
  {
    currentPage = InfoPage;
    vTaskResume(myDisplayHandle);
  }

}

void SettingPageHandler(uint16_t x, uint16_t y)
{
  if ((x <= (Control_Setting.pos_y + (Control_Setting.shape_h/2))) &&
      (x >= (Control_Setting.pos_y - (Control_Setting.shape_h/2))) &&
      (y <= (Control_Setting.pos_x + (Control_Setting.shape_w/2))) &&
      (y >= (Control_Setting.pos_x - (Control_Setting.shape_w/2))))
  {
    currentPage = ControlPage;
    vTaskResume(myDisplayHandle);
  }

  if ((x >= 70) && (x <= 90) && (y >= 20) && (y <= 300))
  {
    char temp[4];
    Display_Channel01.PWM_percent = (y - 20) * 100 / 280;
    intToStr(Display_Channel01.PWM_percent, temp, 3);
    ILI9341_WriteString(109, 40, temp, Font_11x18, ILI9341_WHITE, ILI9341_BLACK);
    ILI9341_FillRectangle(22, 72, 277, 17, ILI9341_BLACK);
    ILI9341_FillRectangle(22, 72, 278*((double)Display_Channel01.PWM_percent/100) - 1, 17, ILI9341_GREEN);
    channel01.value = Display_Channel01.PWM_percent * 8;
    channel01.messageType = PLC_PWM_MESSAGE;
    osMessageQueuePut(PLC_MsgQueueHandle, &channel01, 0U, 0U);
  }

  if ((x >= 160) && (x <= 180) && (y >= 20) && (y <= 300))
  {
    char temp[4];
    Display_Channel02.PWM_percent = (y - 20) * 100 / 280;
    intToStr(Display_Channel02.PWM_percent, temp, 3);
    ILI9341_WriteString(109, 130, temp, Font_11x18, ILI9341_WHITE, ILI9341_BLACK);
    ILI9341_FillRectangle(22, 162, 277, 17, ILI9341_BLACK);
    ILI9341_FillRectangle(22, 162, 278*((double)Display_Channel02.PWM_percent/100) - 1, 17, ILI9341_GREEN);
    channel02.value = Display_Channel02.PWM_percent * 8;
    channel02.messageType = PLC_PWM_MESSAGE;
    osMessageQueuePut(PLC_MsgQueueHandle, &channel02, 0U, 0U);
  }
}

void InfoPageHandler(uint16_t x, uint16_t y)
{
  if ((((ABS(y - Info_Control.pos_x))^2) + ((ABS(x - Info_Control.pos_y))^2)) <= ((Info_Control.shape_r)^2))
  {
    if(osMutexAcquire(Mutex01Handle, portMAX_DELAY) == osOK)
    {
      currentPage = ControlPage;
      vTaskResume(myDisplayHandle);
      osMutexRelease(Mutex01Handle);
    }
  }
}

// --------------------------------------------------------------------------------------------------------------

void reverse(char* str, int len)
{
  int i = 0, j = len - 1, temp;
  while (i < j)
  {
      temp = str[i];
      str[i] = str[j];
      str[j] = temp;
      i++;
      j--;
  }
}

int intToStr(uint16_t x, char str[], int d)
{
  int i = 0;
  if (x == 0)
  {
    str[i++] = '0';
  }
  else
  {
    while (x)
    {
      str[i++] = (x % 10) + '0';
      x = x / 10;
    }
  }
  // If number of digits required is more, then
  // add ' ' at the beginning
  while (i < d)
    str[i++] = ' ';

  reverse(str, i);
  str[i] = '\0';
  return i;
}

void ftoa(float n, char* res, int afterpoint)
{
  // Extract integer part
  int ipart = (int)n;
  // Extract floating part
  float fpart = n - (float)ipart;
  // convert integer part to string
  int i = intToStr(ipart, res, 3);
  // check for display option after point
  if (afterpoint != 0)
  {
    res[i] = '.'; // add dot
    fpart = fpart * pow(10, afterpoint);
    intToStr((int)fpart, res + i + 1, afterpoint);
  }
}

void intToTime(uint32_t time, char* str)
{
  uint8_t hour = time / 3600;
  uint8_t minute = time / 60 - hour * 60;
  uint8_t second = time - hour*3600 - minute*60;

  intToStr0(hour, str, 2);
  *(str+2) = ':';
  intToStr0(minute, str + 3, 2);
  *(str+5) = ':';
  intToStr0(second, str + 6, 2);
}

int intToStr0(uint8_t x, char str[], int d)
{
  int i = 0;
  if (x == 0)
  {
    str[i++] = '0';
  }
  else
  {
    while (x)
    {
      str[i++] = (x % 10) + '0';
      x = x / 10;
    }
  }
  // If number of digits required is more, then
  // add 0s at the beginning
  while (i < d)
    str[i++] = '0';

  reverse(str, i);
  str[i] = '\0';
  return i;
}

/* USER CODE END Application */
